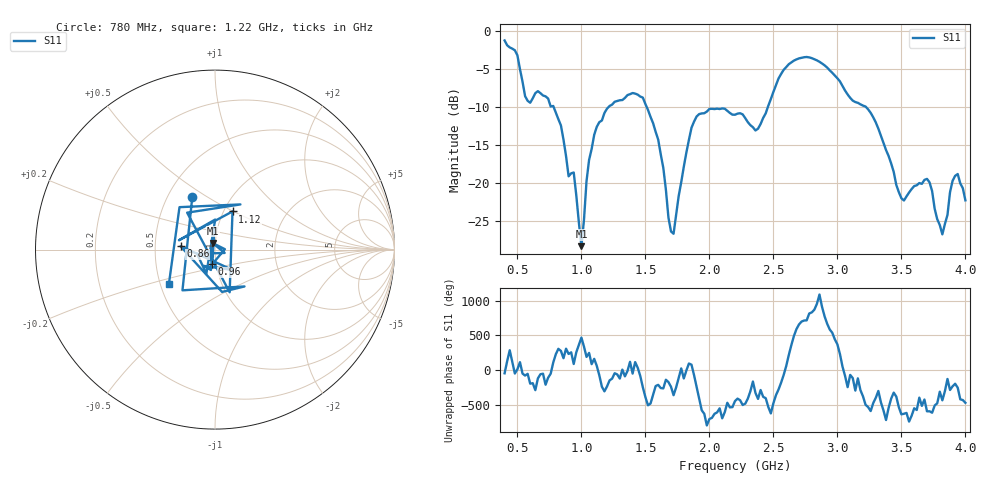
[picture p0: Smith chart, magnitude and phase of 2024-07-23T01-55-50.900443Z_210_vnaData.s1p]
!Created with skrf (http://scikit-rf.org).
# Hz S RI R 50.0
!freq ReS11 ImS11
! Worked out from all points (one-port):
!   181 points, 400 MHz to 4 GHz, reference 50 ohm
!   lowest |S11| = -28.3 dB at 1 GHz (marker M1), VSWR 1.08, Z = 48.6 + j3.53 ohm
!   |S11| at or under -10 dB: 783.1 MHz to 1.213 GHz (429.5 MHz wide, 43 % of centre); 1.51 GHz to 2.457 GHz (946.7 MHz wide, 47.7 % of centre); 3.223 GHz to end of sweep
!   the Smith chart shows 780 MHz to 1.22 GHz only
!   S11 on the Smith chart (normalised r, x): 780 MHz: 0.66, +0.44; 860 MHz: 0.68, +0.03; 960 MHz: 0.96, -0.16; 1.12 GHz: 1.10, +0.49; 1.22 GHz: 0.55, -0.24
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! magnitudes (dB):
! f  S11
! 400 MHz  -1.2
! 500 MHz  -3.2
! 580 MHz  -9.2
! 780 MHz  -9.9
! 860 MHz  -14.3
! 960 MHz  -21.6
! 1 GHz  -28.3
! 1.06 GHz  -17.0
! 1.12 GHz  -12.6
! 1.22 GHz  -9.9
! 1.3 GHz  -9.1
! 1.52 GHz  -10.4
! 1.6 GHz  -14.3
! 1.7 GHz  -26.4
! 1.76 GHz  -21.7
! 1.9 GHz  -11.3
! 2.2 GHz  -11.0
! 2.38 GHz  -12.9
! 2.66 GHz  -3.9
! 2.86 GHz  -4.1
! 3.1 GHz  -8.8
! 3.28 GHz  -11.4
! 3.5 GHz  -22.0
! 3.56 GHz  -21.3
! 3.7 GHz  -19.5
! 3.82 GHz  -26.8
! 3.92 GHz  -19.1
! 4 GHz  -22.3
